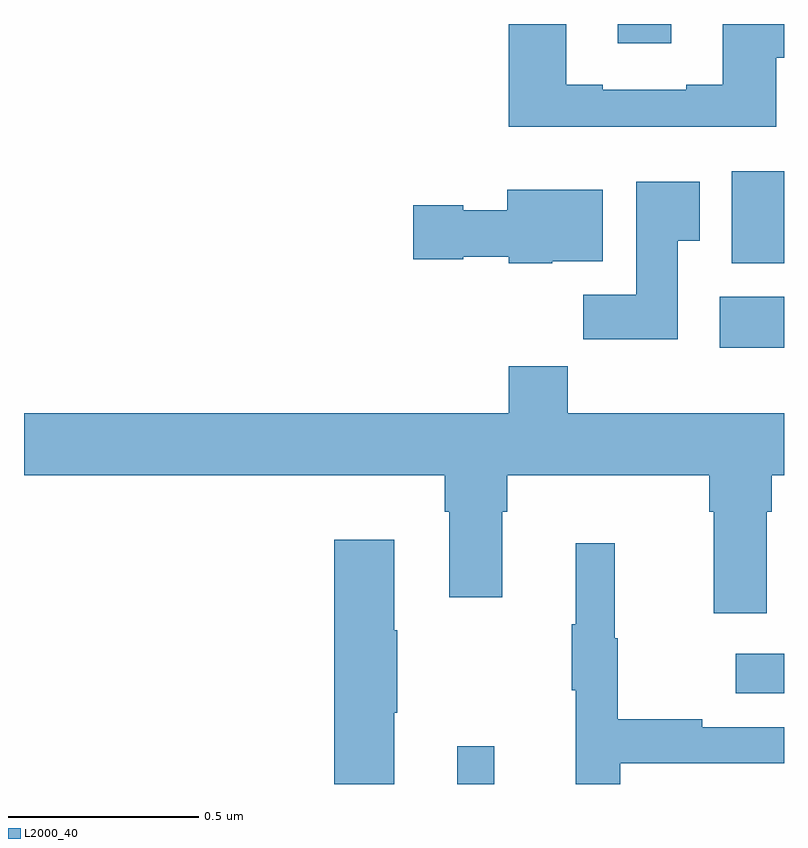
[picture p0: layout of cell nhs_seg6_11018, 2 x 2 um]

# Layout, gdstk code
import gdstk
lib = gdstk.Library(unit=1e-6, precision=1e-09)
def R(c, l, rs):  # rectangles x0, y0, x1, y1
    for r in rs: c.add(gdstk.rectangle(r[:2], r[2:], *l))
def P(c, l, *ps):  # polygons
    for p in ps: c.add(gdstk.Polygon(p, *l))
L2000_40 = (2000, 40)

nhs_seg6_11018 = lib.new_cell('nhs_seg6_11018')
R(nhs_seg6_11018, L2000_40, [(255.14,970.5,255.237,970.6), (255.873,970.739,256,970.843), (255.831,971.648,256,971.782), (255.863,971.87,256,972.112), (255.563,972.45,255.703,972.5)])
P(nhs_seg6_11018, L2000_40, [(255.979,972.411),(256,972.411),(256,972.5),(255.839,972.5),(255.839,972.34),(255.743,972.34),(255.743,972.327),(255.523,972.327),(255.523,972.34),(255.427,972.34),(255.427,972.5),(255.275,972.5),(255.275,972.23),(255.979,972.23)],
  [(255.721,971.929),(255.778,971.929),(255.778,972.085),(255.611,972.085),(255.611,971.788),(255.472,971.788),(255.472,971.67),(255.721,971.67)],
  [(255.39,971.876),(255.523,971.876),(255.523,972.064),(255.272,972.064),(255.272,972.01),(255.156,972.01),(255.156,972.023),(255.024,972.023),(255.024,971.881),(255.156,971.881),(255.156,971.888),(255.276,971.888),(255.276,971.87),(255.39,971.87)],
  [(255.955,971.216),(255.968,971.216),(255.968,971.312),(256,971.312),(256,971.476),(255.431,971.476),(255.431,971.6),(255.275,971.6),(255.275,971.476),(254,971.476),(254,971.312),(255.107,971.312),(255.107,971.216),(255.119,971.216),(255.119,970.992),(255.259,970.992),(255.259,971.216),(255.272,971.216),(255.272,971.312),(255.803,971.312),(255.803,971.216),(255.815,971.216),(255.815,970.95),(255.955,970.95)],
  [(254.974,970.687),(254.982,970.687),(254.982,970.904),(254.974,970.904),(254.974,971.143),(254.816,971.143),(254.816,970.5),(254.974,970.5)],
  [(255.569,970.554),(256,970.554),(256,970.65),(255.785,970.65),(255.785,970.67),(255.562,970.67),(255.562,970.884),(255.554,970.884),(255.554,971.134),(255.452,971.134),(255.452,970.921),(255.441,970.921),(255.441,970.747),(255.452,970.747),(255.452,970.5),(255.569,970.5)])

lib.write_gds('nhs_seg6_11018.gds')
